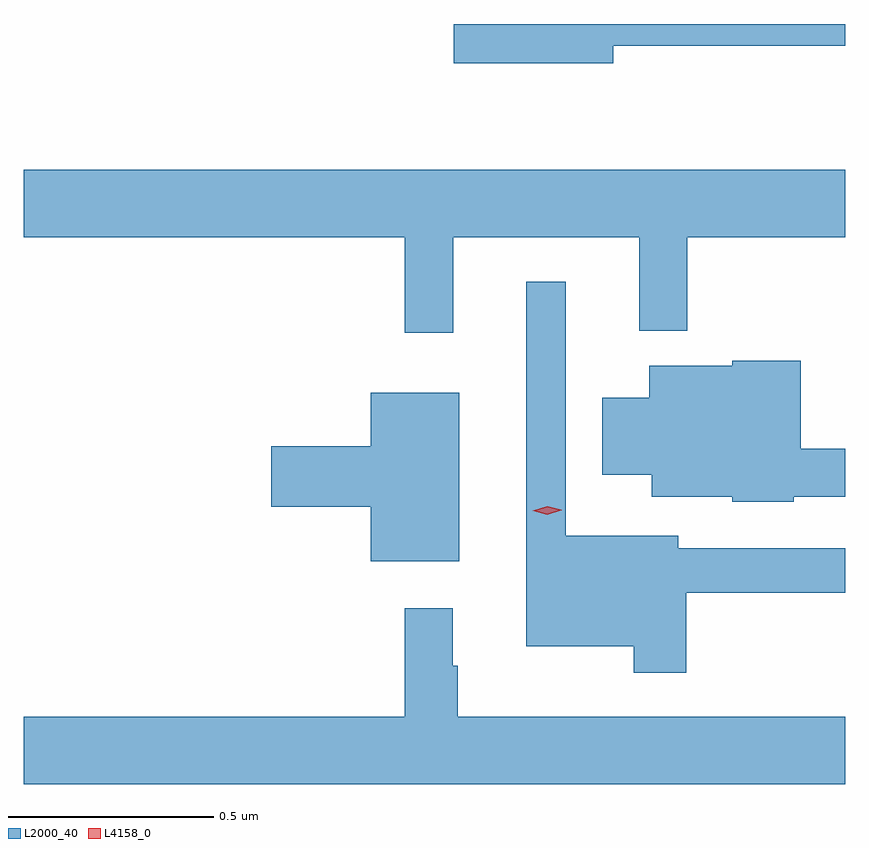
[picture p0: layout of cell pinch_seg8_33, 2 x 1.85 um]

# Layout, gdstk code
import gdstk
lib = gdstk.Library(unit=1e-6, precision=1e-09)
def P(c, l, *ps):  # polygons
    for p in ps: c.add(gdstk.Polygon(p, *l))
L2000_40 = (2000, 40)
L4158_0 = (4158, 0)

pinch_seg8_33 = lib.new_cell('pinch_seg8_33')
P(pinch_seg8_33, L2000_40, [(978.022,1163.586),(978.587,1163.586),(978.587,1163.639),(977.634,1163.639),(977.634,1163.543),(978.022,1163.543)],
  [(976.587,1163.12),(977.515,1163.12),(977.515,1162.887),(977.633,1162.887),(977.633,1163.12),(978.086,1163.12),(978.086,1162.892),(978.203,1162.892),(978.203,1163.12),(978.587,1163.12),(978.587,1163.284),(976.587,1163.284)],
  [(978.2,1162.254),(978.587,1162.254),(978.587,1162.362),(978.181,1162.362),(978.181,1162.393),(977.907,1162.393),(977.907,1163.011),(977.81,1163.011),(977.81,1162.124),(978.072,1162.124),(978.072,1162.059),(978.2,1162.059)],
  [(978.462,1162.488),(978.587,1162.488),(978.587,1162.604),(978.479,1162.604),(978.479,1162.819),(978.312,1162.819),(978.312,1162.807),(978.11,1162.807),(978.11,1162.729),(977.996,1162.729),(977.996,1162.541),(978.116,1162.541),(978.116,1162.487),(978.312,1162.487),(978.312,1162.475),(978.462,1162.475)],
  [(977.647,1162.741),(977.432,1162.741),(977.432,1162.61),(977.19,1162.61),(977.19,1162.463),(977.432,1162.463),(977.432,1162.331),(977.647,1162.331)],
  [(978.587,1161.952),(977.644,1161.952),(977.644,1162.076),(977.632,1162.076),(977.632,1162.216),(977.515,1162.216),(977.515,1161.952),(976.587,1161.952),(976.587,1161.788),(978.587,1161.788)])
P(pinch_seg8_33, L4158_0, [(977.862,1162.444),(977.826,1162.453),(977.826,1162.453),(977.826,1162.454),(977.861,1162.464),(977.896,1162.456),(977.897,1162.455),(977.896,1162.455)])

lib.write_gds('pinch_seg8_33.gds')
